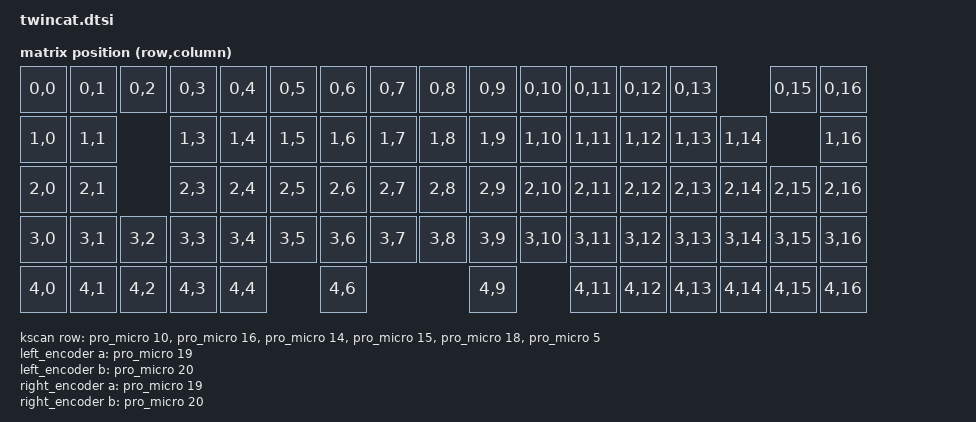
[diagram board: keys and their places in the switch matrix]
#include <physical_layouts.dtsi>
#include <dt-bindings/zmk/matrix_transform.h>

/ {
    chosen {
        zmk,physical-layout = &layout;
    };

    kscan: kscan {
        compatible = "zmk,kscan-gpio-matrix";
        diode-direction = "col2row";

        row-gpios = <&pro_micro 10 (GPIO_ACTIVE_HIGH | GPIO_PULL_DOWN)>,
                    <&pro_micro 16 (GPIO_ACTIVE_HIGH | GPIO_PULL_DOWN)>,
                    <&pro_micro 14 (GPIO_ACTIVE_HIGH | GPIO_PULL_DOWN)>,
                    <&pro_micro 15 (GPIO_ACTIVE_HIGH | GPIO_PULL_DOWN)>,
                    <&pro_micro 18 (GPIO_ACTIVE_HIGH | GPIO_PULL_DOWN)>,
                    <&pro_micro 5 (GPIO_ACTIVE_HIGH | GPIO_PULL_DOWN)>;
    };

    transform: matrix_transform {
        compatible = "zmk,matrix-transform";
        rows = <6>;
        columns = <17>;

        map = <
                RC(0, 0) RC(0, 1) RC(0, 2) RC(0, 3) RC(0, 4) RC(0, 5) RC(0, 6) RC(0, 7) RC(0, 8) RC(0, 9) RC(0, 10) RC(0, 11) RC(0, 12) RC(0, 13)           RC(0, 15) RC(0, 16)
                RC(1, 0) RC(1, 1)          RC(1, 3) RC(1, 4) RC(1, 5) RC(1, 6) RC(1, 7) RC(1, 8) RC(1, 9) RC(1, 10) RC(1, 11) RC(1, 12) RC(1, 13) RC(1, 14)           RC(1, 16)
                RC(2, 0) RC(2, 1)          RC(2, 3) RC(2, 4) RC(2, 5) RC(2, 6) RC(2, 7) RC(2, 8) RC(2, 9) RC(2, 10) RC(2, 11) RC(2, 12) RC(2, 13) RC(2, 14) RC(2, 15) RC(2, 16)
                RC(3, 0) RC(3, 1) RC(3, 2) RC(3, 3) RC(3, 4) RC(3, 5) RC(3, 6) RC(3, 7) RC(3, 8) RC(3, 9) RC(3, 10) RC(3, 11) RC(3, 12) RC(3, 13) RC(3, 14) RC(3, 15) RC(3, 16)
                RC(4, 0) RC(4, 1) RC(4, 2) RC(4, 3) RC(4, 4)          RC(4, 6)                   RC(4, 9)           RC(4, 11) RC(4, 12) RC(4, 13) RC(4, 14) RC(4, 15) RC(4, 16)
        >;
    };
    layout: layout {
        compatible = "zmk,physical-layout";
        display-name = "Split Ortho 4x6";
        transform = <&transform>;
        kscan = <&kscan>;
 
        keys  //                 w   h    x    y     rot    rx    ry
        = <&key_physical_attrs 100 100    0     0      0     0     0>
        , <&key_physical_attrs 100 100  100     0      0     0     0>
        , <&key_physical_attrs 100 100  200     0      0     0     0>
        , <&key_physical_attrs 100 100  300     0      0     0     0>
        , <&key_physical_attrs 100 100  400     0      0     0     0>
        , <&key_physical_attrs 100 100  500     0      0     0     0>
        , <&key_physical_attrs 100 100  600     0      0     0     0>
        , <&key_physical_attrs 100 100  875     0      0     0     0>
        , <&key_physical_attrs 100 100  975     0      0     0     0>
        , <&key_physical_attrs 100 100 1075     0      0     0     0>
        , <&key_physical_attrs 100 100 1175     0      0     0     0>
        , <&key_physical_attrs 100 100 1275     0      0     0     0>
        , <&key_physical_attrs 100 100 1375     0      0     0     0>
        , <&key_physical_attrs 100 100 1475     0      0     0     0>
        , <&key_physical_attrs 100 100 1575     0      0     0     0>
        , <&key_physical_attrs 100 100    0   100      0     0     0>
        , <&key_physical_attrs 100 100  100   100      0     0     0>
        , <&key_physical_attrs 100 100  200   100      0     0     0>
        , <&key_physical_attrs 100 100  300   100      0     0     0>
        , <&key_physical_attrs 100 100  400   100      0     0     0>
        , <&key_physical_attrs 100 100  500   100      0     0     0>
        , <&key_physical_attrs 100 100  600   100      0     0     0>
        , <&key_physical_attrs 100 100  875   100      0     0     0>
        , <&key_physical_attrs 100 100  975   100      0     0     0>
        , <&key_physical_attrs 100 100 1075   100      0     0     0>
        , <&key_physical_attrs 100 100 1175   100      0     0     0>
        , <&key_physical_attrs 100 100 1275   100      0     0     0>
        , <&key_physical_attrs 100 100 1375   100      0     0     0>
        , <&key_physical_attrs 200 100 1475   100      0     0     0>
        , <&key_physical_attrs 100 100 1575   100      0     0    0>
        , <&key_physical_attrs 150 100    0   200      0     0     0>
        , <&key_physical_attrs 100 100  150   200      0     0     0>
        , <&key_physical_attrs 100 100  250   200      0     0     0>
        , <&key_physical_attrs 100 100  350   200      0     0     0>
        , <&key_physical_attrs 100 100  450   200      0     0     0>
        , <&key_physical_attrs 100 100  550   200      0     0     0>
        , <&key_physical_attrs 100 100  650   200      0     0     0>
        , <&key_physical_attrs 100 100  925   200      0     0     0>
        , <&key_physical_attrs 100 100 1025   200      0     0     0>
        , <&key_physical_attrs 100 100 1125   200      0     0     0>
        , <&key_physical_attrs 100 100 1225   200      0     0     0>
        , <&key_physical_attrs 100 100 1325   200      0     0     0>
        , <&key_physical_attrs 100 100 1425   200      0     0     0>
        , <&key_physical_attrs 100 100 1525   200      0     0     0>
        , <&key_physical_attrs 100 100    0   400      0     0     0>
        , <&key_physical_attrs 100 100  175   400      0     0     0>
        , <&key_physical_attrs 100 100  275   400      0     0     0>
        , <&key_physical_attrs 100 100  375   400      0     0     0>
        , <&key_physical_attrs 100 100  475   400      0     0     0>
        , <&key_physical_attrs 100 100  575   400      0     0     0>
        , <&key_physical_attrs 100 100  675   400      0     0     0>
        , <&key_physical_attrs 100 100  950   400      0     0     0>
        , <&key_physical_attrs 100 100 1050   400      0     0     0>
        , <&key_physical_attrs 100 100 1150   400      0     0     0>
        , <&key_physical_attrs 100 100 1250   400      0     0     0>
        , <&key_physical_attrs 100 100 1350   400      0     0     0>
        , <&key_physical_attrs 100 100 1450   400      0     0     0>
        , <&key_physical_attrs 100 100 1550   400      0     0     0>
        , <&key_physical_attrs 125 200  800   200      0     0     0>
        , <&key_physical_attrs 100 100  925   200      0     0     0>
        , <&key_physical_attrs 175 100    0   500      0     0     0>
        , <&key_physical_attrs 100 100  175   500      0     0     0>
        , <&key_physical_attrs 100 100  275   500      0     0     0>
        , <&key_physical_attrs 100 100  375   500      0     0     0>
        , <&key_physical_attrs 100 100  475   500      0     0     0>
        , <&key_physical_attrs 100 100  575   500      0     0     0>
        , <&key_physical_attrs 100 100  725   500      0     0     0>
        , <&key_physical_attrs 100 100  900   500      0     0     0>
        , <&key_physical_attrs 100 100 1000   500      0     0     0>
        , <&key_physical_attrs 100 100 1100   500      0     0     0>
        , <&key_physical_attrs 100 100 1200   500      0     0     0>
        , <&key_physical_attrs 175 100 1375   500      0     0     0>
        , <&key_physical_attrs 100 100 1550   500      0     0     0>
        , <&key_physical_attrs 150 100    0   600      0     0     0>
        , <&key_physical_attrs 125 100  150   600      0     0     0>
        , <&key_physical_attrs 150 100  275   600      0     0     0>
        , <&key_physical_attrs 225 100  425   600      0     0     0>
        , <&key_physical_attrs 275 100  625   600      0     0     0>
        , <&key_physical_attrs 125 100  900   600      0     0     0>
        , <&key_physical_attrs 100 100 1025   600      0     0     0>
        , <&key_physical_attrs 100 100 1125   600      0     0     0>
        , <&key_physical_attrs 125 100 1225   600      0     0     0>
        , <&key_physical_attrs 100 100 1325   600      0     0     0>
        , <&key_physical_attrs 100 100 1425   600      0     0     0>
        , <&key_physical_attrs 100 100 1525   600      0     0     0>
        ;

    };

    left_encoder: encoder_left {
        compatible = "alps,ec11";

        a-gpios = <&pro_micro 19 (GPIO_ACTIVE_HIGH | GPIO_PULL_UP)>;
        b-gpios = <&pro_micro 20 (GPIO_ACTIVE_HIGH | GPIO_PULL_UP)>;

        steps = <80>;
        status = "disabled";
    };

    right_encoder: encoder_right {
        compatible = "alps,ec11";

        a-gpios = <&pro_micro 19 (GPIO_ACTIVE_HIGH | GPIO_PULL_UP)>;
        b-gpios = <&pro_micro 20 (GPIO_ACTIVE_HIGH | GPIO_PULL_UP)>;

        steps = <80>;
        status = "disabled";
    };

    sensors: sensors {
        compatible = "zmk,keymap-sensors";

        sensors = <&left_encoder &right_encoder>;

        triggers-per-rotation = <20>;
    };
};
